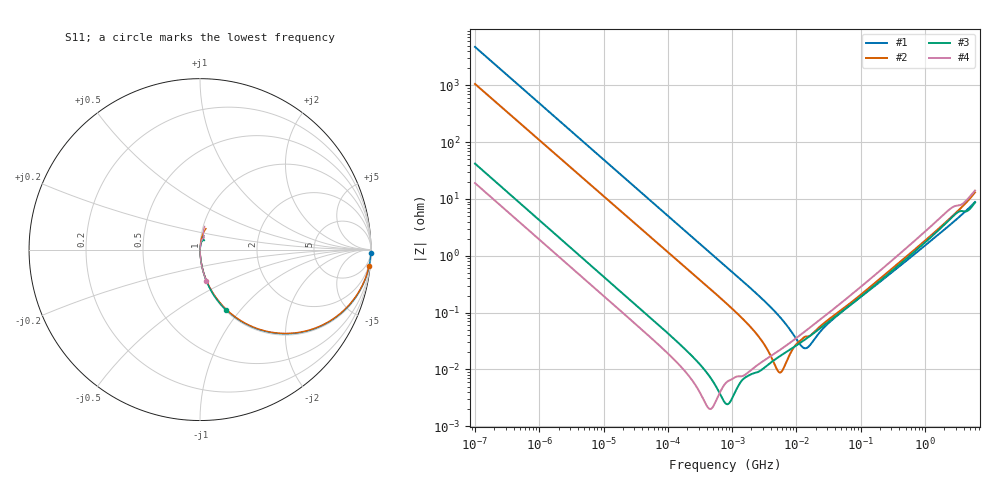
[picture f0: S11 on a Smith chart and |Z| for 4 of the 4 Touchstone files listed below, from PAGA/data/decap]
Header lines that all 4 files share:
!These Parameters are Measured in Series Mode Connection
!  o--ll--o
!Port1  Port2
!  o------o
!Operation Temp=25[degC], DC Bias Voltage=0[V]
!Freq. Start=100[Hz] Stop=6[GHz], 401[Steps]
# Hz S RI R 50
!Freq.(Hz) S11(Real) S11(Imag) S21(Real) S21(Imag) S12(Real) S12(Imag) S22(Real) S22(Imag)
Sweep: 100 Hz to 6 GHz
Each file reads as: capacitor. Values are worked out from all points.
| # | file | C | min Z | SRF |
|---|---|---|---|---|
| 1 | 02GRM155R61H474KE11_DC0V_25degC_series.s2p | 336 nF | 23.6 mohm | 14.26 MHz |
| 2 | 05GRM188R61E225KA12_DC0V_25degC_series.s2p | 1.51 uF | 8.8 mohm | 5.714 MHz |
| 3 | 10GRM21BR60G476ME01_DC0V_25degC_series.s2p | 38 uF | 2.44 mohm | 877.6 kHz |
| 4 | 12GRM31CR60J107KEA8_DC0V_25degC_series.s2p | 83.5 uF | 2.01 mohm | 475.3 kHz |
